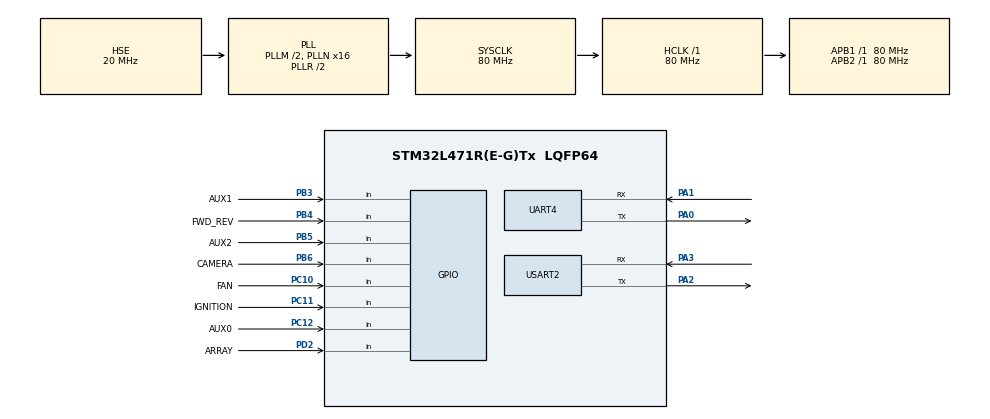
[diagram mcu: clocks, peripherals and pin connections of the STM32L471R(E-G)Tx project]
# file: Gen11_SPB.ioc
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CRC.InputDataInversionMode=CRC_INPUTDATA_INVERSION_BYTE
CRC.OutputDataInversionMode=CRC_OUTPUTDATA_INVERSION_ENABLE
Mcu.Family=STM32L4
Mcu.Name=STM32L471R(E-G)Tx
Mcu.Package=LQFP64
NVIC.PriorityGroup=NVIC_PRIORITYGROUP_4
NVIC.TIM6_DAC_IRQn=true\:15\:0\:false\:false\:true\:false\:true\:true
NVIC.TimeBase=TIM6_DAC_IRQn
NVIC.TimeBaseIP=TIM6
PA0.Mode=Asynchronous
PA0.Signal=UART4_TX
PA1.Mode=Asynchronous
PA1.Signal=UART4_RX
PA13\ (JTMS-SWDIO).Mode=Serial_Wire
PA13\ (JTMS-SWDIO).Signal=SYS_JTMS-SWDIO
PA14\ (JTCK-SWCLK).Mode=Serial_Wire
PA14\ (JTCK-SWCLK).Signal=SYS_JTCK-SWCLK
PA2.Mode=Asynchronous
PA2.Signal=USART2_TX
PA3.Mode=Asynchronous
PA3.Signal=USART2_RX
PB3\ (JTDO-TRACESWO).GPIO_Label=AUX1
PB3\ (JTDO-TRACESWO).Signal=GPIO_Input
PB4\ (NJTRST).GPIO_Label=FWD_REV
PB4\ (NJTRST).Signal=GPIO_Input
PB5.GPIO_Label=AUX2
PB5.Signal=GPIO_Input
PB6.GPIO_Label=CAMERA
PB6.Signal=GPIO_Input
PC10.GPIO_Label=FAN
PC10.Signal=GPIO_Input
PC11.GPIO_Label=IGNITION
PC11.Signal=GPIO_Input
PC12.GPIO_Label=AUX0
PC12.Signal=GPIO_Input
PD2.GPIO_Label=ARRAY
PD2.Signal=GPIO_Input
PH0-OSC_IN\ (PH0).Mode=HSE-External-Oscillator
PH0-OSC_IN\ (PH0).Signal=RCC_OSC_IN
PH1-OSC_OUT\ (PH1).Mode=HSE-External-Oscillator
PH1-OSC_OUT\ (PH1).Signal=RCC_OSC_OUT
ProjectManager.HeapSize=0x200
ProjectManager.StackSize=0x400
ProjectManager.TargetToolchain=STM32CubeIDE
RCC.ADCFreq_Value=40000000
RCC.AHBFreq_Value=80000000
RCC.APB1Freq_Value=80000000
RCC.APB1TimFreq_Value=80000000
RCC.APB2Freq_Value=80000000
RCC.APB2TimFreq_Value=80000000
RCC.CortexFreq_Value=80000000
RCC.HCLKFreq_Value=80000000
RCC.HSE_VALUE=20000000
RCC.HSI_VALUE=16000000
RCC.LSE_VALUE=32768
RCC.MSI_VALUE=4000000
RCC.PLLM=2
RCC.PLLN=16
RCC.PLLSourceVirtual=RCC_PLLSOURCE_HSE
RCC.SYSCLKFreq_VALUE=80000000
RCC.SYSCLKSource=RCC_SYSCLKSOURCE_PLLCLK
RCC.VCOOutputFreq_Value=160000000
USART2.VirtualMode-Asynchronous=VM_ASYNC
VP_CRC_VS_CRC.Mode=CRC_Activate
VP_SYS_VS_tim6.Mode=TIM6
board=custom

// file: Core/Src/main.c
/* USER CODE BEGIN Header */
/**
  ******************************************************************************
  * @file           : main.c
  * @brief          : Main program body
  ******************************************************************************
  * @attention
  *
  * <h2><center>&copy; Copyright (c) 2022 STMicroelectronics.
  * All rights reserved.</center></h2>
  *
  * This software component is licensed by ST under Ultimate Liberty license
  * SLA0044, the "License"; You may not use this file except in compliance with
  * the License. You may obtain a copy of the License at:
  *                             www.st.com/SLA0044
  *
  ******************************************************************************
  */
/* USER CODE END Header */
#include "main.h"

/* USER CODE BEGIN PD */
#define BSSR_SERIAL_START 0xa5
#define BSSR_SPB_SWB_ACK 0x77 //Acknowledge signal sent back from DCMB upon reception of data from SPB/SWB (77 is BSSR team number :D)

/* USER CODE END PD */

CRC_HandleTypeDef hcrc;

UART_HandleTypeDef huart4;
UART_HandleTypeDef huart2;

void SystemClock_Config(void);
static void MX_GPIO_Init(void);
static void MX_CRC_Init(void);
static void MX_UART4_Init(void);
static void MX_USART2_UART_Init(void);

/* USER CODE BEGIN 0 */

uint8_t getSwitchState(){
	uint8_t switchState = 0;

	switchState |= HAL_GPIO_ReadPin(ARRAY_GPIO_Port, ARRAY_Pin) << 0;
	switchState |= HAL_GPIO_ReadPin(GPIOC, AUX0_Pin) 			<< 1;
	switchState |= HAL_GPIO_ReadPin(GPIOB, AUX1_Pin) 			<< 2;
	switchState |= HAL_GPIO_ReadPin(GPIOB, AUX2_Pin) 			<< 3;
	switchState |= HAL_GPIO_ReadPin(GPIOC, FAN_Pin) 			<< 4;
	switchState |= HAL_GPIO_ReadPin(GPIOB, FWD_REV_Pin) 		<< 5;
	switchState |= HAL_GPIO_ReadPin(GPIOB, CAMERA_Pin) 			<< 6;
	switchState |= HAL_GPIO_ReadPin(GPIOC, IGNITION_Pin) 		<< 7;

	return switchState;
}

/* USER CODE END 0 */

int main(void)
{

  /* MCU Configuration--------------------------------------------------------*/

  /* Reset of all peripherals, Initializes the Flash interface and the Systick. */
  HAL_Init();

  /* Configure the system clock */
  SystemClock_Config();

  /* Initialize all configured peripherals */
  MX_GPIO_Init();
  MX_CRC_Init();
  MX_UART4_Init();
  MX_USART2_UART_Init();

  /* USER CODE BEGIN 2 */
  uint8_t oldSwitchState = 0;
  uint8_t newSwitchState = getSwitchState();
  uint8_t buf[4] = {BSSR_SERIAL_START, 0x04, newSwitchState, 0x00}; //Last byte is CRC, optional

  HAL_Delay(1000); //Wait for 1 second until DCMB turns on.
  HAL_UART_Transmit(&huart2, buf, 4, 10); //To DCMB
  HAL_UART_Transmit(&huart4, buf, 4, 10); //To DEBUG
  /* USER CODE END 2 */

  /* Infinite loop */
  while (1){

    /* USER CODE BEGIN 3 */
	 newSwitchState = getSwitchState();
	  //Data is collected as a byte with the following formatting: [IGNITION, CAMERA, FWD/REV, FAN, AUX2, AUX1, AUX0, ARRAY] ([bit 7...bit 0])
	  //Data is sent: 1) When board first starts, 2) on any change in switch state
	 uint8_t buf[4] = {BSSR_SERIAL_START, 0x04, newSwitchState, 0x00}; //Last byte is CRC, optional

	  if (newSwitchState != oldSwitchState){ //Switches changed; need to send
		  //print_switches();
		  HAL_UART_Transmit(&huart2, buf, 4, 10); //To DCMB
		  HAL_UART_Transmit(&huart4, buf, 4, 10); //To DEBUG
	  }

	  oldSwitchState = newSwitchState;

	  HAL_Delay(5); //Wait for 5ms; could be replaced with power down sleep
  }
  /* USER CODE END 3 */
}

void SystemClock_Config(void)
{
  RCC_OscInitTypeDef RCC_OscInitStruct = {0};
  RCC_ClkInitTypeDef RCC_ClkInitStruct = {0};

  /** Configure the main internal regulator output voltage
  */
  if (HAL_PWREx_ControlVoltageScaling(PWR_REGULATOR_VOLTAGE_SCALE1) != HAL_OK)
  {
    Error_Handler();
  }
  /** Initializes the RCC Oscillators according to the specified parameters
  * in the RCC_OscInitTypeDef structure.
  */
  RCC_OscInitStruct.OscillatorType = RCC_OSCILLATORTYPE_HSE;
  RCC_OscInitStruct.HSEState = RCC_HSE_ON;
  RCC_OscInitStruct.PLL.PLLState = RCC_PLL_ON;
  RCC_OscInitStruct.PLL.PLLSource = RCC_PLLSOURCE_HSE;
  RCC_OscInitStruct.PLL.PLLM = 2;
  RCC_OscInitStruct.PLL.PLLN = 16;
  RCC_OscInitStruct.PLL.PLLP = RCC_PLLP_DIV7;
  RCC_OscInitStruct.PLL.PLLQ = RCC_PLLQ_DIV2;
  RCC_OscInitStruct.PLL.PLLR = RCC_PLLR_DIV2;
  if (HAL_RCC_OscConfig(&RCC_OscInitStruct) != HAL_OK)
  {
    Error_Handler();
  }
  /** Initializes the CPU, AHB and APB buses clocks
  */
  RCC_ClkInitStruct.ClockType = RCC_CLOCKTYPE_HCLK|RCC_CLOCKTYPE_SYSCLK
                              |RCC_CLOCKTYPE_PCLK1|RCC_CLOCKTYPE_PCLK2;
  RCC_ClkInitStruct.SYSCLKSource = RCC_SYSCLKSOURCE_PLLCLK;
  RCC_ClkInitStruct.AHBCLKDivider = RCC_SYSCLK_DIV1;
  RCC_ClkInitStruct.APB1CLKDivider = RCC_HCLK_DIV1;
  RCC_ClkInitStruct.APB2CLKDivider = RCC_HCLK_DIV1;

  if (HAL_RCC_ClockConfig(&RCC_ClkInitStruct, FLASH_LATENCY_4) != HAL_OK)
  {
    Error_Handler();
  }
}

static void MX_CRC_Init(void)
{

  hcrc.Instance = CRC;
  hcrc.Init.DefaultPolynomialUse = DEFAULT_POLYNOMIAL_ENABLE;
  hcrc.Init.DefaultInitValueUse = DEFAULT_INIT_VALUE_ENABLE;
  hcrc.Init.InputDataInversionMode = CRC_INPUTDATA_INVERSION_BYTE;
  hcrc.Init.OutputDataInversionMode = CRC_OUTPUTDATA_INVERSION_ENABLE;
  hcrc.InputDataFormat = CRC_INPUTDATA_FORMAT_BYTES;
  if (HAL_CRC_Init(&hcrc) != HAL_OK)
  {
    Error_Handler();
  }

}

static void MX_UART4_Init(void)
{

  huart4.Instance = UART4;
  huart4.Init.BaudRate = 115200;
  huart4.Init.WordLength = UART_WORDLENGTH_8B;
  huart4.Init.StopBits = UART_STOPBITS_1;
  huart4.Init.Parity = UART_PARITY_NONE;
  huart4.Init.Mode = UART_MODE_TX_RX;
  huart4.Init.HwFlowCtl = UART_HWCONTROL_NONE;
  huart4.Init.OverSampling = UART_OVERSAMPLING_16;
  huart4.Init.OneBitSampling = UART_ONE_BIT_SAMPLE_DISABLE;
  huart4.AdvancedInit.AdvFeatureInit = UART_ADVFEATURE_NO_INIT;
  if (HAL_UART_Init(&huart4) != HAL_OK)
  {
    Error_Handler();
  }

}

static void MX_USART2_UART_Init(void)
{

  huart2.Instance = USART2;
  huart2.Init.BaudRate = 115200;
  huart2.Init.WordLength = UART_WORDLENGTH_8B;
  huart2.Init.StopBits = UART_STOPBITS_1;
  huart2.Init.Parity = UART_PARITY_NONE;
  huart2.Init.Mode = UART_MODE_TX_RX;
  huart2.Init.HwFlowCtl = UART_HWCONTROL_NONE;
  huart2.Init.OverSampling = UART_OVERSAMPLING_16;
  huart2.Init.OneBitSampling = UART_ONE_BIT_SAMPLE_DISABLE;
  huart2.AdvancedInit.AdvFeatureInit = UART_ADVFEATURE_NO_INIT;
  if (HAL_UART_Init(&huart2) != HAL_OK)
  {
    Error_Handler();
  }

}

static void MX_GPIO_Init(void)
{
  GPIO_InitTypeDef GPIO_InitStruct = {0};

  /* GPIO Ports Clock Enable */
  __HAL_RCC_GPIOH_CLK_ENABLE();
  __HAL_RCC_GPIOA_CLK_ENABLE();
  __HAL_RCC_GPIOC_CLK_ENABLE();
  __HAL_RCC_GPIOD_CLK_ENABLE();
  __HAL_RCC_GPIOB_CLK_ENABLE();

  /*Configure GPIO pins : FAN_Pin IGNITION_Pin AUX0_Pin */
  GPIO_InitStruct.Pin = FAN_Pin|IGNITION_Pin|AUX0_Pin;
  GPIO_InitStruct.Mode = GPIO_MODE_INPUT;
  GPIO_InitStruct.Pull = GPIO_NOPULL;
  HAL_GPIO_Init(GPIOC, &GPIO_InitStruct);

  /*Configure GPIO pin : ARRAY_Pin */
  GPIO_InitStruct.Pin = ARRAY_Pin;
  GPIO_InitStruct.Mode = GPIO_MODE_INPUT;
  GPIO_InitStruct.Pull = GPIO_NOPULL;
  HAL_GPIO_Init(ARRAY_GPIO_Port, &GPIO_InitStruct);

  /*Configure GPIO pins : AUX1_Pin FWD_REV_Pin AUX2_Pin CAMERA_Pin */
  GPIO_InitStruct.Pin = AUX1_Pin|FWD_REV_Pin|AUX2_Pin|CAMERA_Pin;
  GPIO_InitStruct.Mode = GPIO_MODE_INPUT;
  GPIO_InitStruct.Pull = GPIO_NOPULL;
  HAL_GPIO_Init(GPIOB, &GPIO_InitStruct);

}

/* USER CODE BEGIN 4 */
void print_switches(){
  if (HAL_GPIO_ReadPin(GPIOC, FAN_Pin)){	HAL_UART_Transmit(&huart4, (uint8_t*) "FAN: 0\n", 30, 100);	}
  else {	HAL_UART_Transmit(&huart4, (uint8_t*) "FAN: 1\n", 30, 100);	}

  if (HAL_GPIO_ReadPin(GPIOC, AUX0_Pin)){	HAL_UART_Transmit(&huart4, (uint8_t*) "AUX0: 0\n", 30, 100);	}
  else {	HAL_UART_Transmit(&huart4, (uint8_t*) "AUX0: 1\n", 30, 100);	}

  if (HAL_GPIO_ReadPin(GPIOB, AUX1_Pin)){	HAL_UART_Transmit(&huart4, (uint8_t*) "AUX1: 0\n", 30, 100);	}
  else {	HAL_UART_Transmit(&huart4, (uint8_t*) "AUX1: 1\n", 30, 100);	}

  if (HAL_GPIO_ReadPin(GPIOB, AUX2_Pin)){	HAL_UART_Transmit(&huart4, (uint8_t*) "AUX2: 0\n", 30, 100);	}
  else {	HAL_UART_Transmit(&huart4, (uint8_t*) "AUX2: 1\n", 30, 100);	}

  if (HAL_GPIO_ReadPin(ARRAY_GPIO_Port, ARRAY_Pin)){	HAL_UART_Transmit(&huart4, (uint8_t*) "ARRAY: 0\n", 30, 100);	}
  else {	HAL_UART_Transmit(&huart4, (uint8_t*) "ARRAY: 1\n", 30, 100);	}

  if (HAL_GPIO_ReadPin(GPIOB, FWD_REV_Pin)){	HAL_UART_Transmit(&huart4, (uint8_t*) "FWD/REV: 0\n", 30, 100);	}
  else {	HAL_UART_Transmit(&huart4, (uint8_t*) "FWD/REV: 1\n", 30, 100);	}

  if (HAL_GPIO_ReadPin(GPIOB, CAMERA_Pin)){	HAL_UART_Transmit(&huart4, (uint8_t*) "CAMERA: 0\n", 30, 100);	}
  else {	HAL_UART_Transmit(&huart4, (uint8_t*) "CAMERA: 1\n", 30, 100);	}

  if (HAL_GPIO_ReadPin(GPIOC, IGNITION_Pin)){	HAL_UART_Transmit(&huart4, (uint8_t*) "IGNITION: 0\n", 30, 100);	}
  else {	HAL_UART_Transmit(&huart4, (uint8_t*) "IGNITION: 1\n", 30, 100);	}

  HAL_UART_Transmit(&huart4, (uint8_t*) "\n\n", 5, 100);
}
/* USER CODE END 4 */

void HAL_TIM_PeriodElapsedCallback(TIM_HandleTypeDef *htim)
{
  if (htim->Instance == TIM6) {
    HAL_IncTick();
  }
}

void Error_Handler(void)
{
  __disable_irq();
  while (1)
  {
  }
}
